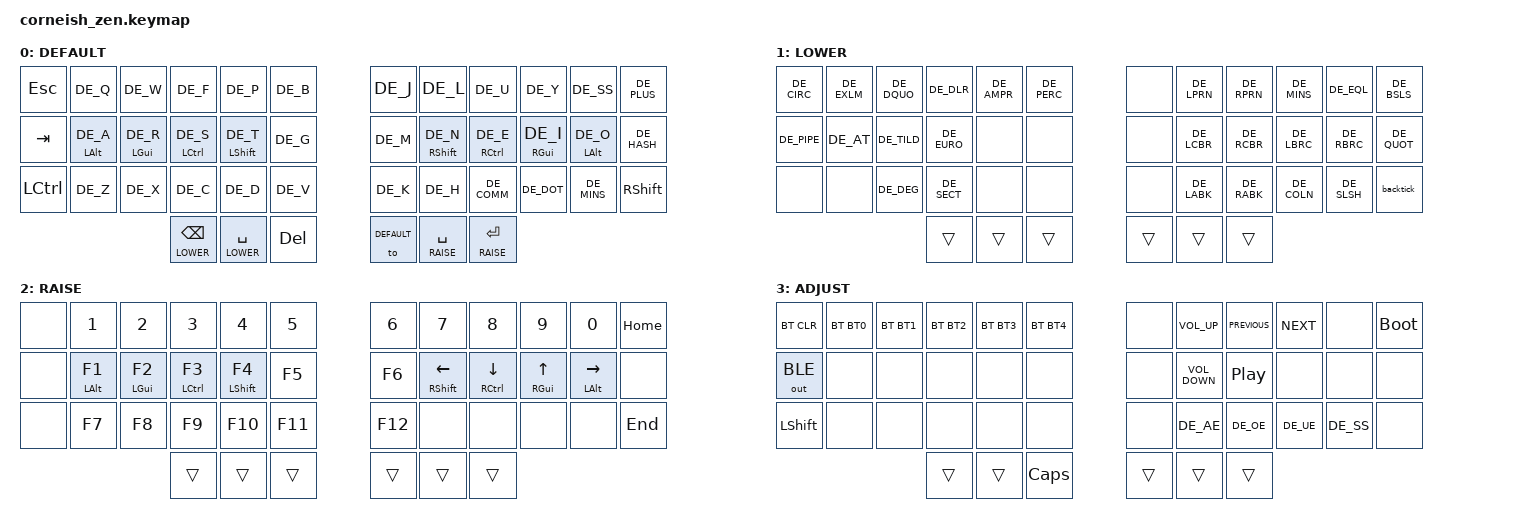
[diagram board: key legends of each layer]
#include <behaviors.dtsi>
#include <dt-bindings/zmk/keys.h>
#include <dt-bindings/zmk/bt.h>
#include <dt-bindings/zmk/outputs.h>

#include "german-keymap.h"

#define DEFAULT 0
#define LOWER   1
#define RAISE   2
#define ADJUST  3

// ╭───┬────┬────┬─────────────┬─────────────╮   ╭─────────────┬─────────────┬─────────────┬─────────────┬─────────────╮
// ├───┼────┼────┼─────────────┼─────────────┤   ├─────────────┼─────────────┼─────────────┼─────────────┼─────────────┤
// ├───┼────┼────┼─────────────┼─────────────┤   ├─────────────┼─────────────┼─────────────┼─────────────┼─────────────┤
// ╰───┴────┼────┼─────────────┼─────────────┤   ├─────────────┼─────────────┼─────────────┼─────────────┴─────────────╯
//          ╰────┴─────────────┴─────────────╯   ╰─────────────┴─────────────┴─────────────╯

/ {
  chosen {
    zmk,matrix_transform = &default_transform;
  };
};

/ {
  conditional_layers { // https://zmk.dev/docs/features/conditional-layers
    compatible = "zmk,conditional-layers";
    tri_layer { if-layers = <LOWER RAISE>; then-layer = <ADJUST>; };
  };
};

#define COMBO_TIMEOUT 50

/ {
  combos { // https://zmk.dev/docs/features/combos
    compatible = "zmk,combos";
    combo_page_up { timeout-ms = <COMBO_TIMEOUT>; layers = <RAISE>; key-positions = <11 23>; bindings = <&kp PG_UP>; };
    combo_page_dn { timeout-ms = <COMBO_TIMEOUT>; layers = <RAISE>; key-positions = <23 35>; bindings = <&kp PG_DN>; };
  };
};

#define LEFT_ROW_0       0  1  2  3  4  5
#define LEFT_ROW_1      12 13 14 15 16 17
#define LEFT_ROW_2      24 25 26 27 28 29
#define LEFT_ROW_3               36 37 38
#define RIGT_ROW_0                         6  7  8  9 10 11
#define RIGT_ROW_1                        18 19 20 21 22 23
#define RIGT_ROW_2                        30 31 32 33 34 35
#define RIGT_ROW_3                        39 40 41
#define LEFT_ROWS_012   LEFT_ROW_0 LEFT_ROW_1 LEFT_ROW_2
#define RIGT_ROWS_012   RIGT_ROW_0 RIGT_ROW_1 RIGT_ROW_2

/ {
  behaviors {
     lh_pht: homerow_left {
       compatible = "zmk,behavior-hold-tap";
       label = "POSITIONAL_HOLD_TAP";
       hold-trigger-key-positions = <RIGT_ROWS_012 41>;
       hold-trigger-on-release; // https://github.com/zmkfirmware/zmk/pull/1423
       #binding-cells = <2>; bindings = <&kp>, <&kp>;
       flavor = "balanced"; tapping-term-ms = <400>;
     };
     rh_pht: homerow_right {
       compatible = "zmk,behavior-hold-tap";
       label = "POSITIONAL_HOLD_TAPR";
       hold-trigger-key-positions = <LEFT_ROWS_012 36>;
       hold-trigger-on-release;
       #binding-cells = <2>; bindings = <&kp>, <&kp>;
       //flavor = "hold-preferred"; quick-tap-ms = <200>; tapping-term-ms = <400>;
       flavor = "balanced"; tapping-term-ms = <400>;
     };
  };
};

#define BT0 BT_SEL 0
#define BT1 BT_SEL 1
#define BT2 BT_SEL 2
#define BT3 BT_SEL 3
#define BT4 BT_SEL 4

/ {
    macros {
        backtick: backtick { // instead of &kp DE_GRV
            label = "ZM_backtick";
            compatible = "zmk,behavior-macro";
            #binding-cells = <0>;
            bindings
                = <&macro_press   &kp LSHFT>
                , <&macro_tap     &kp DE_ACUT>
                , <&macro_release &kp LSHFT>
                , <&macro_tap     &kp SPACE>
                ;
        };
    };
};

/ {
  keymap {
      compatible = "zmk,keymap";

      default_layer {
        label = "DEFAULT";
        bindings = <
           &kp ESC          &kp          DE_Q     &kp DE_W                &kp           DE_F      &kp            DE_P   &kp DE_B       &kp DE_J    &kp            DE_L      &kp DE_U           &kp          DE_Y &kp         DE_SS   &kp DE_PLUS
           &kp TAB          &lh_pht LALT DE_A     &lh_pht LGUI DE_R       &lh_pht LCTRL DE_S      &lh_pht LSHIFT DE_T   &kp DE_G       &kp DE_M    &rh_pht RSHIFT DE_N      &rh_pht RCTRL DE_E &rh_pht RGUI DE_I &rh_pht LALT DE_O   &kp DE_HASH
           &kp LCTRL        &kp          DE_Z     &kp DE_X                &kp           DE_C      &kp            DE_D   &kp DE_V       &kp DE_K    &kp            DE_H      &kp        DE_COMM &kp        DE_DOT &kp       DE_MINS   &kp RSHIFT
                                                                          &lt LOWER BSPC          &lt LOWER SPACE       &kp DEL        &to DEFAULT &lt RAISE SPACE          &lt RAISE RET
         >;
      };

      lower_layer {
        label = "LOWER";
        bindings = <
           &kp DE_CIRC      &kp DE_EXLM           &kp DE_DQUO             &kp DE_DLR              &kp DE_AMPR           &kp DE_PERC    &none       &kp DE_LPRN              &kp DE_RPRN        &kp DE_MINS       &kp DE_EQL          &kp DE_BSLS
           &kp DE_PIPE      &kp DE_AT             &kp DE_TILD             &kp DE_EURO             &none                 &none          &none       &kp DE_LCBR              &kp DE_RCBR        &kp DE_LBRC       &kp DE_RBRC         &kp DE_QUOT
           &none            &none                 &kp DE_DEG              &kp DE_SECT             &none                 &none          &none       &kp DE_LABK              &kp DE_RABK        &kp DE_COLN       &kp DE_SLSH         &backtick
                                                                          &trans                  &trans                &trans         &trans      &trans                   &trans
        >;
      };

      raise_layer {
        label = "RAISE";
        bindings = <
           &none            &kp N1                &kp N2                  &kp N3                  &kp N4                &kp N5         &kp N6      &kp N7                   &kp N8             &kp N9            &kp N0              &kp HOME
           &none            &lh_pht LALT F1       &lh_pht LGUI F2         &lh_pht LCTRL F3        &lh_pht LSHIFT F4     &kp F5         &kp F6      &rh_pht RSHFT LEFT       &rh_pht RCTRL DOWN &rh_pht RGUI UP   &rh_pht LALT RIGHT  &none
           &none            &kp F7                &kp F8                  &kp F9                  &kp F10               &kp F11        &kp F12     &none                    &none              &none             &none               &kp END
                                                                          &trans                  &trans                &trans         &trans      &trans                   &trans
        >;
      };

      adjust_layer {
        label = "ADJUST";
        bindings = <
           &bt BT_CLR       &bt BT0               &bt BT1           &bt BT2                 &bt BT3             &bt BT4        &none       &kp C_VOLUME_UP          &kp C_PREVIOUS     &kp C_NEXT        &none               &bootloader
           &out OUT_BLE     &none                 &none             &none                   &none               &none          &none       &kp C_VOLUME_DOWN        &kp C_PLAY_PAUSE   &none             &none               &none
           &kp LSHIFT       &none                 &none             &none                   &none               &none          &none       &kp DE_AE                &kp DE_OE          &kp DE_UE         &kp DE_SS           &none
                                                                    &trans                  &trans              &kp CAPSLOCK   &trans      &trans                   &trans
        >;
      };
   };
};
